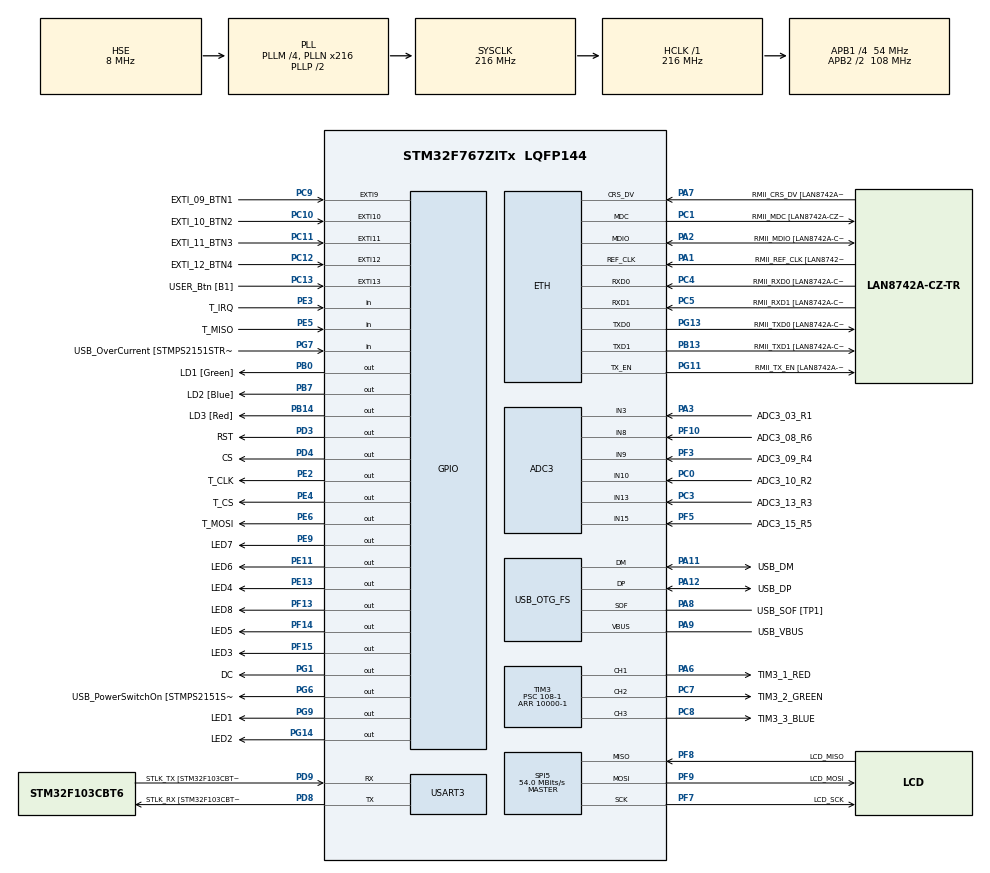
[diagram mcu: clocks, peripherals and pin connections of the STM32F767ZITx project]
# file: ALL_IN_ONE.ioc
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ADC3.Channel-0\#ChannelRegularConversion=ADC_CHANNEL_3
ADC3.ContinuousConvMode=ENABLE
ADC3.NbrOfConversionFlag=1
ADC3.Rank-0\#ChannelRegularConversion=1
ADC3.SamplingTime-0\#ChannelRegularConversion=ADC_SAMPLETIME_480CYCLES
ETH.MediaInterface=HAL_ETH_RMII_MODE
ETH.PHY_Name=LAN8742A_PHY_ADDRESS
ETH.PHY_Value=0
ETH.PhyAddress=0
Mcu.Family=STM32F7
Mcu.Name=STM32F767ZITx
Mcu.Package=LQFP144
NVIC.PriorityGroup=NVIC_PRIORITYGROUP_4
NVIC.TIM2_IRQn=true\:0\:0\:false\:false\:true\:true\:true\:true
NVIC.TIM3_IRQn=true\:0\:0\:false\:false\:true\:true\:true\:true
NVIC.TIM5_IRQn=true\:0\:0\:true\:false\:true\:true\:true\:true
NVIC.USART3_IRQn=true\:0\:0\:false\:false\:true\:true\:true\:true
PA1.GPIO_Label=RMII_REF_CLK [LAN8742A-CZ-TR_REFCLK0]
PA1.Mode=RMII
PA1.Signal=ETH_REF_CLK
PA10.GPIO_Label=USB_ID
PA10.Signal=USB_OTG_FS_ID
PA11.GPIO_Label=USB_DM
PA11.Mode=Device_Only
PA11.Signal=USB_OTG_FS_DM
PA12.GPIO_Label=USB_DP
PA12.Mode=Device_Only
PA12.Signal=USB_OTG_FS_DP
PA13.GPIO_Label=TMS
PA13.Mode=Serial_Wire
PA13.Signal=SYS_JTMS-SWDIO
PA14.GPIO_Label=TCK
PA14.Mode=Serial_Wire
PA14.Signal=SYS_JTCK-SWCLK
PA2.GPIO_Label=RMII_MDIO [LAN8742A-CZ-TR_MDIO]
PA2.Mode=RMII
PA2.Signal=ETH_MDIO
PA3.GPIO_Label=ADC3_03_R1
PA3.Signal=ADCx_IN3
PA6.GPIO_Label=TIM3_1_RED
PA6.Signal=S_TIM3_CH1
PA7.GPIO_Label=RMII_CRS_DV [LAN8742A-CZ-TR_CRS_DV]
PA7.Mode=RMII
PA7.Signal=ETH_CRS_DV
PA8.GPIO_Label=USB_SOF [TP1]
PA8.Mode=Activate_SOF_FS
PA8.Signal=USB_OTG_FS_SOF
PA9.GPIO_Label=USB_VBUS
PA9.Mode=Activate_VBUS
PA9.Signal=USB_OTG_FS_VBUS
PB0.GPIO_Label=LD1 [Green]
PB0.Signal=GPIO_Output
PB13.GPIO_Label=RMII_TXD1 [LAN8742A-CZ-TR_TXD1]
PB13.Mode=RMII
PB13.Signal=ETH_TXD1
PB14.GPIO_Label=LD3 [Red]
PB14.Signal=GPIO_Output
PB3.GPIO_Label=SWO
PB3.Signal=SYS_JTDO-SWO
PB7.GPIO_Label=LD2 [Blue]
PB7.Signal=GPIO_Output
PC0.GPIO_Label=ADC3_10_R2
PC0.Signal=ADCx_IN10
PC1.GPIO_Label=RMII_MDC [LAN8742A-CZ-TR_MDC]
PC1.Mode=RMII
PC1.Signal=ETH_MDC
PC10.GPIO_Label=EXTI_10_BTN2
PC10.Signal=GPXTI10
PC11.GPIO_Label=EXTI_11_BTN3
PC11.Signal=GPXTI11
PC12.GPIO_Label=EXTI_12_BTN4
PC12.Signal=GPXTI12
PC13.GPIO_Label=USER_Btn [B1]
PC13.Signal=GPXTI13
PC14/OSC32_IN.Mode=LSE-External-Oscillator
PC14/OSC32_IN.Signal=RCC_OSC32_IN
PC15/OSC32_OUT.Mode=LSE-External-Oscillator
PC15/OSC32_OUT.Signal=RCC_OSC32_OUT
PC3.GPIO_Label=ADC3_13_R3
PC3.Signal=ADCx_IN13
PC4.GPIO_Label=RMII_RXD0 [LAN8742A-CZ-TR_RXD0]
PC4.Mode=RMII
PC4.Signal=ETH_RXD0
PC5.GPIO_Label=RMII_RXD1 [LAN8742A-CZ-TR_RXD1]
PC5.Mode=RMII
PC5.Signal=ETH_RXD1
PC7.GPIO_Label=TIM3_2_GREEN
PC7.Signal=S_TIM3_CH2
PC8.GPIO_Label=TIM3_3_BLUE
PC8.Signal=S_TIM3_CH3
PC9.GPIO_Label=EXTI_09_BTN1
PC9.Signal=GPXTI9
PD3.GPIO_Label=RST
PD3.GPIO_Speed=GPIO_SPEED_FREQ_VERY_HIGH
PD3.Signal=GPIO_Output
PD4.GPIO_Label=CS
PD4.GPIO_Speed=GPIO_SPEED_FREQ_VERY_HIGH
PD4.Signal=GPIO_Output
PD8.GPIO_Label=STLK_RX [STM32F103CBT6_PA3]
PD8.Mode=Asynchronous
PD8.Signal=USART3_TX
PD9.GPIO_Label=STLK_TX [STM32F103CBT6_PA2]
PD9.Mode=Asynchronous
PD9.Signal=USART3_RX
PE11.GPIO_Label=LED6
PE11.Signal=GPIO_Output
PE13.GPIO_Label=LED4
PE13.Signal=GPIO_Output
PE2.GPIO_Label=T_CLK
PE2.GPIO_Speed=GPIO_SPEED_FREQ_VERY_HIGH
PE2.Signal=GPIO_Output
PE3.GPIO_Label=T_IRQ
PE3.Signal=GPIO_Input
PE4.GPIO_Label=T_CS
PE4.Signal=GPIO_Output
PE5.GPIO_Label=T_MISO
PE5.Signal=GPIO_Input
PE6.GPIO_Label=T_MOSI
PE6.GPIO_Speed=GPIO_SPEED_FREQ_VERY_HIGH
PE6.Signal=GPIO_Output
PE9.GPIO_Label=LED7
PE9.Signal=GPIO_Output
PF0.Signal=I2C2_SDA
PF1.Signal=I2C2_SCL
PF10.GPIO_Label=ADC3_08_R6
PF10.Mode=IN8
PF10.Signal=ADC3_IN8
PF13.GPIO_Label=LED8
PF13.Signal=GPIO_Output
PF14.GPIO_Label=LED5
PF14.Signal=GPIO_Output
PF15.GPIO_Label=LED3
PF15.Signal=GPIO_Output
PF3.GPIO_Label=ADC3_09_R4
PF3.Mode=IN9
PF3.Signal=ADC3_IN9
PF5.GPIO_Label=ADC3_15_R5
PF5.Mode=IN15
PF5.Signal=ADC3_IN15
PF7.GPIO_Label=LCD_SCK
PF7.Mode=Full_Duplex_Master
PF7.Signal=SPI5_SCK
PF8.GPIO_Label=LCD_MISO
PF8.Mode=Full_Duplex_Master
PF8.Signal=SPI5_MISO
PF9.GPIO_Label=LCD_MOSI
PF9.Mode=Full_Duplex_Master
PF9.Signal=SPI5_MOSI
PG1.GPIO_Label=DC
PG1.GPIO_Speed=GPIO_SPEED_FREQ_VERY_HIGH
PG1.Signal=GPIO_Output
PG11.GPIO_Label=RMII_TX_EN [LAN8742A-CZ-TR_TXEN]
PG11.Mode=RMII
PG11.Signal=ETH_TX_EN
PG13.GPIO_Label=RMII_TXD0 [LAN8742A-CZ-TR_TXD0]
PG13.Mode=RMII
PG13.Signal=ETH_TXD0
PG14.GPIO_Label=LED2
PG14.Signal=GPIO_Output
PG6.GPIO_Label=USB_PowerSwitchOn [STMPS2151STR_EN]
PG6.Signal=GPIO_Output
PG7.GPIO_Label=USB_OverCurrent [STMPS2151STR_FAULT]
PG7.Signal=GPIO_Input
PG9.GPIO_Label=LED1
PG9.Signal=GPIO_Output
PH0/OSC_IN.GPIO_Label=MCO [STM32F103CBT6_PA8]
PH0/OSC_IN.Mode=HSE-External-Clock-Source
PH0/OSC_IN.Signal=RCC_OSC_IN
PH1/OSC_OUT.Mode=HSE-External-Clock-Source
PH1/OSC_OUT.Signal=RCC_OSC_OUT
ProjectManager.HeapSize=0x200
ProjectManager.StackSize=0x400
ProjectManager.TargetToolchain=STM32CubeIDE
RCC.48MHZClocksFreq_Value=24000000
RCC.AHBFreq_Value=216000000
RCC.APB1CLKDivider=RCC_HCLK_DIV4
RCC.APB1Freq_Value=54000000
RCC.APB1TimFreq_Value=108000000
RCC.APB2CLKDivider=RCC_HCLK_DIV2
RCC.APB2Freq_Value=108000000
RCC.APB2TimFreq_Value=216000000
RCC.CortexFreq_Value=216000000
RCC.HCLKFreq_Value=216000000
RCC.HSE_VALUE=8000000
RCC.HSI_VALUE=16000000
RCC.PLLM=4
RCC.PLLMUL=RCC_PLL_MUL9
RCC.PLLN=216
RCC.PLLQ=9
RCC.PRESCALERUSB=RCC_USBCLKSOURCE_PLL_DIV1_5
RCC.SYSCLKFreq_VALUE=216000000
RCC.SYSCLKSource=RCC_SYSCLKSOURCE_PLLCLK
RCC.SYSCLKSourceVirtual=RCC_SYSCLKSOURCE_PLLCLK
RCC.USBFreq_Value=48000000
RCC.VCOOutputFreq_Value=432000000
SH.ADCx_IN10.0=ADC3_IN10,IN10
SH.ADCx_IN13.0=ADC3_IN13,IN13
SH.ADCx_IN3.0=ADC3_IN3,IN3
SH.S_TIM3_CH1.0=TIM3_CH1,PWM Generation1 CH1
SH.S_TIM3_CH2.0=TIM3_CH2,PWM Generation2 CH2
SH.S_TIM3_CH3.0=TIM3_CH3,PWM Generation3 CH3
SPI5.CalculateBaudRate=54.0 MBits/s
SPI5.DataSize=SPI_DATASIZE_8BIT
SPI5.Direction=SPI_DIRECTION_2LINES
SPI5.Mode=SPI_MODE_MASTER
SPI5.VirtualType=VM_MASTER
TIM2.Period=1000
TIM2.Prescaler=108-1
TIM3.Channel-PWM\ Generation1\ CH1=TIM_CHANNEL_1
TIM3.Channel-PWM\ Generation2\ CH2=TIM_CHANNEL_2
TIM3.Channel-PWM\ Generation3\ CH3=TIM_CHANNEL_3
TIM3.Period=10000-1
TIM3.Prescaler=108-1
TIM5.Period=1000
TIM5.Prescaler=108-1
USART3.VirtualMode-Asynchronous=VM_ASYNC
USB_OTG_FS.VirtualMode=Device_Only
VP_RNG_VS_RNG.Mode=RNG_Activate
VP_TIM2_VS_ClockSourceINT.Mode=Internal
VP_TIM3_VS_ClockSourceINT.Mode=Internal
VP_TIM5_VS_ClockSourceINT.Mode=Internal
board=NUCLEO-F767ZI

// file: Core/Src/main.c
/* USER CODE BEGIN Header */
/**
  ******************************************************************************
  * @file           : main.c
  * @brief          : Main program body
  ******************************************************************************
  * @attention
  *
  * Copyright (c) 2025 STMicroelectronics.
  * All rights reserved.
  *
  * This software is licensed under terms that can be found in the LICENSE file
  * in the root directory of this software component.
  * If no LICENSE file comes with this software, it is provided AS-IS.
  *
  ******************************************************************************
  */
/* USER CODE END Header */
#include "main.h"
#include "adc.h"
#include "eth.h"
#include "rng.h"
#include "spi.h"
#include "tim.h"
#include "usart.h"
#include "usb_otg.h"
#include "gpio.h"

/* USER CODE BEGIN Includes */

#include "ILI9341_Touchscreen.h"
#include "ILI9341_STM32_Driver.h"
#include "ILI9341_GFX.h"

#include "snow_tiger.h"
/* USER CODE END Includes */

/* USER CODE BEGIN PD */
#define FSM_SIZE 17
typedef struct { GPIO_TypeDef *port; uint16_t pin; } GpioDef;
/* USER CODE END PD */

/* USER CODE BEGIN PV */

/*START LED HANDLER*/
static const GpioDef all_leds[] = {
  { LED1_GPIO_Port, LED1_Pin },
  { LED2_GPIO_Port, LED2_Pin },
  { LED3_GPIO_Port, LED3_Pin },
  { LED4_GPIO_Port, LED4_Pin },
  { LED5_GPIO_Port, LED5_Pin },
  { LED6_GPIO_Port, LED6_Pin },
  { LED7_GPIO_Port, LED7_Pin },
  { LED8_GPIO_Port, LED8_Pin }
};
static const GpioDef all_lds[] = {
  { LD1_GPIO_Port, LD1_Pin },
  { LD2_GPIO_Port, LD2_Pin },
  { LD3_GPIO_Port, LD3_Pin },
};
// Edit by your self
// Edit FSM_SIZE IF CHANGED SIZE
//static const uint8_t SEQ1[FSM_SIZE][8] = {
//		{1,0,0,0,0,0,0,1},
//		{0,1,0,0,0,0,1,0},
//		{0,0,1,0,0,1,0,0},
//		{0,0,0,1,1,0,0,0},
//};
// 0 - 15
// Edit by your self
// Edit FSM_SIZE IF CHANGED SIZE
static const uint8_t SEQ2[FSM_SIZE][8] = {
{0,0,0,0,0,0,0,1},
{0,0,0,0,0,0,1,0},
{0,0,0,0,0,0,1,1},
{0,0,0,0,0,1,0,0},
{0,0,0,0,0,1,0,1},
{0,0,0,0,0,1,1,0},
{0,0,0,0,0,1,1,1},
{0,0,0,0,1,0,0,0},
{0,0,0,0,1,0,0,1},
{0,0,0,0,1,0,1,0},
{0,0,0,0,1,0,1,1},
{0,0,0,0,1,1,0,0},
{0,0,0,0,1,1,0,1},
{0,0,0,0,1,1,1,0},
{0,0,0,0,1,1,1,1}
};
size_t idx = 0;
/*END LED HANDLER*/

/* --- App state --- */
static volatile uint32_t ms_tick = 0;     // นับ ms จาก TIM5
static volatile uint8_t paused = 0;       // 0 = นับอยู่, 1 = หยุดชั่วคราว
static volatile uint32_t pause_ms = 0;    // เวลาตั้งแต่เริ่ม pause (ms)
static volatile int current_val = 3030;   // เริ่มนับจาก 1002 (คู่)
static volatile int end_val = 3002;   // เริ่มนับจาก 1002 (คู่)
static volatile uint8_t done = 0;         // ครบงานแล้ว

/* PWM helper: TIM3 period จาก Cube = 65535 */
#define TIM3_ARR   (htim3.Init.Period)
static inline void RGB_Set(uint16_t r, uint16_t g, uint16_t b) {
    __HAL_TIM_SET_COMPARE(&htim3, TIM_CHANNEL_1, r); // RED  PA6
    __HAL_TIM_SET_COMPARE(&htim3, TIM_CHANNEL_2, g); // GREEN PC7
    __HAL_TIM_SET_COMPARE(&htim3, TIM_CHANNEL_3, b); // BLUE  PC8
}
static inline void RGB_SetPercent(uint8_t r, uint8_t g, uint8_t b) {
    uint32_t rr = (uint32_t)r * TIM3_ARR / 100;
    uint32_t gg = (uint32_t)g * TIM3_ARR / 100;
    uint32_t bb = (uint32_t)b * TIM3_ARR / 100;
    RGB_Set((uint16_t)rr, (uint16_t)gg, (uint16_t)bb);
}

/* USER CODE END PV */

void SystemClock_Config(void);
/* USER CODE BEGIN PFP */

static void set_led(const GpioDef led, GPIO_PinState s)
{
	HAL_GPIO_WritePin(led.port, led.pin, s);
}
static void LED_FSM(size_t *idx, const GpioDef all_leds[8], const uint8_t SEQ[FSM_SIZE][8]);
/* USER CODE END PFP */

int main(void)
{

  /* MCU Configuration--------------------------------------------------------*/

  /* Reset of all peripherals, Initializes the Flash interface and the Systick. */
  HAL_Init();

  /* Configure the system clock */
  SystemClock_Config();

  /* Initialize all configured peripherals */
  MX_GPIO_Init();
  MX_ETH_Init();
  MX_USART3_UART_Init();
  MX_USB_OTG_FS_PCD_Init();
  MX_ADC3_Init();
  MX_RNG_Init();
  MX_TIM2_Init();
  MX_TIM3_Init();
  MX_TIM5_Init();
  MX_SPI5_Init();
  /* USER CODE BEGIN 2 */

  uint16_t ADC_MIN = 80;
  uint16_t ADC_MAX = 4020;
  uint16_t ADC_PERIOD = 4;
  uint16_t ADC_SCALE = (ADC_MAX - ADC_MIN) / ADC_PERIOD;

  uint16_t pos_x = 120;
  uint16_t pos_y = 160;
  uint16_t r = 20;
  uint16_t c = YELLOW;
  uint16_t now_state = 0;
  uint16_t bg = GREEN;

  ILI9341_Init();
  // EXTI 9..5 (เช่น PC9, PC10, PC11)
  HAL_NVIC_SetPriority(EXTI9_5_IRQn, 1, 0);
  HAL_NVIC_EnableIRQ(EXTI9_5_IRQn);

  // EXTI 15..10 (เช่น PC13 USER, PC12)
  HAL_NVIC_SetPriority(EXTI15_10_IRQn, 1, 0);
  HAL_NVIC_EnableIRQ(EXTI15_10_IRQn);

  /* Start TIM5 as 1ms tick */
  HAL_TIM_Base_Start_IT(&htim5);

  /* Start TIM3 PWM channels for RGB */
  HAL_TIM_PWM_Start(&htim3, TIM_CHANNEL_1); // RED
  HAL_TIM_PWM_Start(&htim3, TIM_CHANNEL_2); // GREEN
  HAL_TIM_PWM_Start(&htim3, TIM_CHANNEL_3); // BLUE
  RGB_Set(0,0,0); // ปิดไฟแรกเริ่ม

//char temp_buff[16] ;
//char humid_buff[16] ;
//uint16_t t = 30;
//uint16_t h = 40;
ILI9341_Fill_Screen(WHITE);
//ILI9341_Draw_Filled_Circle(120, 180, 24, RED);
  /* USER CODE END 2 */

  /* Infinite loop */
  while (1)
  {

    /* USER CODE BEGIN 3 */

//	     if (HAL_ADC_Start(&hadc3) != HAL_OK) {
//	         Error_Handler();
//	     }
//
//	     /* Wait for conversion to complete (timeout 100 ms) */
//	     if (HAL_ADC_PollForConversion(&hadc3, 100) == HAL_OK) {
//	         uint32_t adc_val = HAL_ADC_GetValue(&hadc3);  // 0..4095
//	         if (adc_val <= ADC_MIN + ADC_SCALE * 1){
//	        	 r = 0;
//	        	 if (now_state != 1){
//	        		 ILI9341_Fill_Screen(bg);
//	            	 ILI9341_Draw_Filled_Circle(0, 0, 1, GREEN);
//	        		 ILI9341_Draw_Filled_Rectangle_Coord(pos_x, pos_y, pos_x+r, pos_y+r, c);
//	        	 }
//	        	 now_state = 1;
//	         }
//	         else if (adc_val <= ADC_MIN + ADC_SCALE * 2){
//	        	 r = 50;
//	        	 if (now_state != 2){
//	        		 ILI9341_Fill_Screen(bg);
//	            	 ILI9341_Draw_Filled_Circle(0, 0, 1, GREEN);
//	        		 ILI9341_Draw_Filled_Rectangle_Coord(pos_x, pos_y, pos_x+r, pos_y+r, c);
////	            	 ILI9341_Draw_Filled_Circle(pos_x, pos_y, r, c);
//	        	 }
//	        	 now_state = 2;
//	         }
//	         else if (adc_val <= ADC_MIN + ADC_SCALE * 3){
//	        	 r = 75;
//	        	 if (now_state != 3){
//	        		 ILI9341_Fill_Screen(bg);
//	            	 ILI9341_Draw_Filled_Circle(0, 0, 1, GREEN);
//	        		 ILI9341_Draw_Filled_Rectangle_Coord(pos_x, pos_y, pos_x+r, pos_y+r, c);
////	            	 ILI9341_Draw_Filled_Circle(pos_x, pos_y, r, c);
//	        	 }
//	        	 now_state = 3;
//	         }
//	         else {
//	        	 r = 100;
//	        	 if (now_state != 4){
//	        		 ILI9341_Fill_Screen(bg);
//	            	 ILI9341_Draw_Filled_Circle(0, 0, 1, GREEN);
//	        		 ILI9341_Draw_Filled_Rectangle_Coord(pos_x, pos_y, pos_x+r, pos_y+r, c);
////	            	 ILI9341_Draw_Filled_Circle(pos_x, pos_y, r, c);
//	        	 }
//	        	 now_state = 4;
//	         }
//	         char buf[32];
//	         int len = snprintf(buf, sizeof(buf), "ADC3_IN3=%lu\tSTATE=%lu\r\n", adc_val, now_state);
//	         if (len > 0) {
//	             HAL_UART_Transmit(&huart3, (uint8_t*)buf, (uint16_t)len, 100);
//	         }
//	     }
//	     HAL_Delay(250);

//	  snprintf(temp_buff, sizeof(temp_buff), "%5.1lu C", t);
//	  snprintf(humid_buff, sizeof(humid_buff), "%5.1lu %%RH", h);
//	  ILI9341_Draw_Text(temp_buff, 10, 20, BLACK, 2, WHITE);
//	  ILI9341_Draw_Text(humid_buff, 150, 20, BLACK, 2, WHITE);
	  /*START LED CODE HANDLER*/
//	    LED_FSM(&idx, all_leds, SEQ2);
	  /*END LED CODE HANDLER*/

  }
  /* USER CODE END 3 */
}

void SystemClock_Config(void)
{
  RCC_OscInitTypeDef RCC_OscInitStruct = {0};
  RCC_ClkInitTypeDef RCC_ClkInitStruct = {0};

  /** Configure LSE Drive Capability
  */
  HAL_PWR_EnableBkUpAccess();

  /** Configure the main internal regulator output voltage
  */
  __HAL_RCC_PWR_CLK_ENABLE();
  __HAL_PWR_VOLTAGESCALING_CONFIG(PWR_REGULATOR_VOLTAGE_SCALE1);

  /** Initializes the RCC Oscillators according to the specified parameters
  * in the RCC_OscInitTypeDef structure.
  */
  RCC_OscInitStruct.OscillatorType = RCC_OSCILLATORTYPE_HSE;
  RCC_OscInitStruct.HSEState = RCC_HSE_BYPASS;
  RCC_OscInitStruct.PLL.PLLState = RCC_PLL_ON;
  RCC_OscInitStruct.PLL.PLLSource = RCC_PLLSOURCE_HSE;
  RCC_OscInitStruct.PLL.PLLM = 4;
  RCC_OscInitStruct.PLL.PLLN = 216;
  RCC_OscInitStruct.PLL.PLLP = RCC_PLLP_DIV2;
  RCC_OscInitStruct.PLL.PLLQ = 9;
  RCC_OscInitStruct.PLL.PLLR = 2;
  if (HAL_RCC_OscConfig(&RCC_OscInitStruct) != HAL_OK)
  {
    Error_Handler();
  }

  /** Activate the Over-Drive mode
  */
  if (HAL_PWREx_EnableOverDrive() != HAL_OK)
  {
    Error_Handler();
  }

  /** Initializes the CPU, AHB and APB buses clocks
  */
  RCC_ClkInitStruct.ClockType = RCC_CLOCKTYPE_HCLK|RCC_CLOCKTYPE_SYSCLK
                              |RCC_CLOCKTYPE_PCLK1|RCC_CLOCKTYPE_PCLK2;
  RCC_ClkInitStruct.SYSCLKSource = RCC_SYSCLKSOURCE_PLLCLK;
  RCC_ClkInitStruct.AHBCLKDivider = RCC_SYSCLK_DIV1;
  RCC_ClkInitStruct.APB1CLKDivider = RCC_HCLK_DIV4;
  RCC_ClkInitStruct.APB2CLKDivider = RCC_HCLK_DIV2;

  if (HAL_RCC_ClockConfig(&RCC_ClkInitStruct, FLASH_LATENCY_7) != HAL_OK)
  {
    Error_Handler();
  }
}

/* USER CODE BEGIN 4 */
void HAL_GPIO_EXTI_Callback(uint16_t GPIO_Pin)
{

    if (done) return;

    if (GPIO_Pin == EXTI_09_BTN1_Pin) {
        if (!paused) {
            paused = 1;
            pause_ms = 0;
//            RGB_V2
//            RGB_SetPercent(100, 0, 0);
        }
    }
}

static void LED_FSM(size_t *idx, const GpioDef all_leds[8], const uint8_t SEQ[FSM_SIZE][8])
{
    for (size_t j = 0; j < 8; ++j) {
        GPIO_PinState state = SEQ[*idx][j] ? GPIO_PIN_SET : GPIO_PIN_RESET;
        set_led(all_leds[j], state);
    }
    HAL_Delay(400);
    for (size_t j = 0; j < 8; ++j) {
        set_led(all_leds[j], GPIO_PIN_RESET);
    }
    HAL_Delay(400);
    *idx = *idx + 1;
    if (*idx == FSM_SIZE){
    	*idx = 0;
    }
}

extern UART_HandleTypeDef huart3;

static void uart_print_num(int v) {
    char buf[32];
    int n = snprintf(buf, sizeof(buf), "%d\r\n", v);
    HAL_UART_Transmit(&huart3, (uint8_t*)buf, (uint16_t)n, HAL_MAX_DELAY);
}

static void uart_print_stop(void) {
    const char *s = "STOP\r\n";
    HAL_UART_Transmit(&huart3, (uint8_t*)s, (uint16_t)strlen(s), HAL_MAX_DELAY);
}

/* Cube HAL calls this on timer update event */
void HAL_TIM_PeriodElapsedCallback(TIM_HandleTypeDef *htim)
{
    if (done) return;

    if (htim->Instance == TIM5) {
        ms_tick++;

        if (paused) {
            pause_ms++;

            if (pause_ms == 1)   {
//            	0-1
//            	RGB_V2
            	RGB_SetPercent(0, 100, 0);
            }
            if (pause_ms == 500) {
//            	1-2
//            	set_led(all_lds[2], GPIO_PIN_SET);
            	//            	RGB_V2
				RGB_SetPercent(0, 75, 0);
			}
            if (pause_ms == 2000) {
//            	2-3
//            	set_led(all_lds[1], GPIO_PIN_SET);
            	//            	RGB_V2
            	RGB_SetPercent(0, 50, 0);
            }
            if (pause_ms == 3000) {
//            	3-4
//            	set_led(all_lds[0], GPIO_PIN_SET);
            	//            	RGB_V2
            	RGB_SetPercent(0, 25, 0);
            }
            if (pause_ms == 4000) {

//            	set_led(all_lds[2], GPIO_PIN_RESET);
//            	set_led(all_lds[1], GPIO_PIN_RESET);
//            	set_led(all_lds[0], GPIO_PIN_RESET);
            	//            	RGB_V2
                RGB_SetPercent(0, 0, 0);
                paused = 0;
                pause_ms = 0;
                ms_tick = 0; // รีเซ็ต 1s accumulator ให้เที่ยงตรงก่อนนับต่อ
            }
            return;
        }

        /* กรณีปกติ: พิมพ์ทุก 1000ms */
        if (ms_tick >= 1000) {
            ms_tick = 0;

            /* พิมพ์ค่าปัจจุบัน */
            uart_print_num(current_val);

            /* เดินไปเลขคู่ถัดไป */
            current_val -= 2;

            /* จบที่ 1030 แล้ว STOP */
            if (current_val < end_val) {
                uart_print_stop();
                /* ปิด timer interrupt และหยุดโปรแกรม */
                HAL_TIM_Base_Stop_IT(&htim5);
                done = 1;
            }
        }
    }
}
/* USER CODE END 4 */

void Error_Handler(void)
{
  __disable_irq();
  while (1)
  {
  }
}
